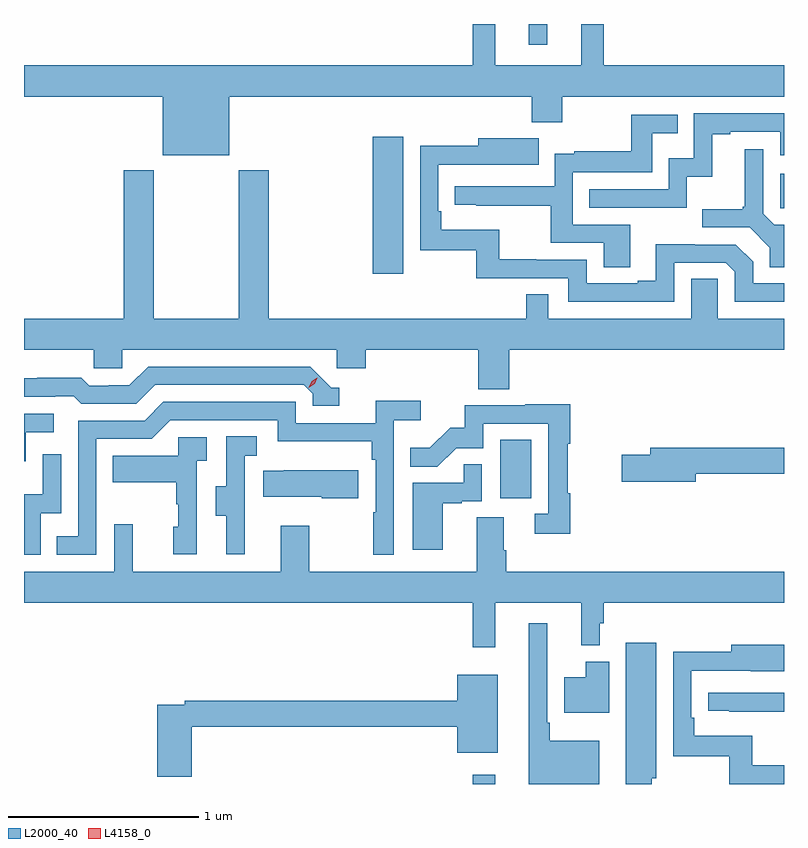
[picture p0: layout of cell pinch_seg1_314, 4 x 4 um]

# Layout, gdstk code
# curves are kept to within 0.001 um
import gdstk
lib = gdstk.Library(unit=1e-6, precision=1e-09)
def R(c, l, rs):  # rectangles x0, y0, x1, y1
    for r in rs: c.add(gdstk.rectangle(r[:2], r[2:], *l))
def P(c, l, *ps):  # polygons
    for p in ps: c.add(gdstk.Polygon(p, *l))
L2000_40 = (2000, 40)
L4158_0 = (4158, 0)

pinch_seg1_314 = lib.new_cell('pinch_seg1_314')
R(pinch_seg1_314, L2000_40, [(1013.923,541.454,1014.04,541.504), (1014.068,542.958,1014.232,543.265), (1013.396,544.14,1013.557,544.861), (1015.542,544.485,1015.561,544.665), (1014.218,545.346,1014.315,545.454)])
P(pinch_seg1_314, L2000_40, [(1012.642,545.072),(1014.233,545.072),(1014.233,544.937),(1014.393,544.937),(1014.393,545.072),(1015.561,545.072),(1015.561,545.236),(1014.611,545.236),(1014.611,545.454),(1014.494,545.454),(1014.494,545.236),(1014.041,545.236),(1014.041,545.454),(1013.923,545.454),(1013.923,545.236),(1011.561,545.236),(1011.561,545.072),(1012.292,545.072),(1012.292,544.763),(1012.642,544.763)],
  [(1015.05,544.649),(1015.183,544.649),(1015.183,544.875),(1015.279,544.875),(1015.279,544.887),(1015.542,544.887),(1015.542,544.764),(1015.561,544.764),(1015.561,544.983),(1015.086,544.983),(1015.086,544.747),(1014.954,544.747),(1014.954,544.584),(1014.535,544.584),(1014.535,544.488),(1015.05,544.488)],
  [(1014.751,544.398),(1014.45,544.398),(1014.45,544.674),(1014.867,544.674),(1014.867,544.88),(1015.001,544.88),(1015.001,544.977),(1014.756,544.977),(1014.756,544.783),(1014.457,544.783),(1014.457,544.771),(1014.354,544.771),(1014.354,544.599),(1013.829,544.599),(1013.829,544.503),(1013.941,544.503),(1013.941,544.498),(1014.334,544.498),(1014.334,544.302),(1014.611,544.302),(1014.611,544.174),(1014.751,544.174)],
  [(1014.984,544.197),(1015.254,544.197),(1015.302,544.149),(1015.302,543.993),(1015.561,543.993),(1015.561,544.089),(1015.398,544.089),(1015.398,544.203),(1015.308,544.293),(1015.092,544.293),(1015.092,544.295),(1014.887,544.295),(1014.887,544.102),(1014.791,544.102),(1014.791,544.089),(1014.522,544.089),(1014.522,544.212),(1014.257,544.212),(1014.257,544.217),(1014.061,544.217),(1014.061,544.372),(1013.756,544.372),(1013.756,544.468),(1013.742,544.468),(1013.742,544.713),(1014.269,544.712),(1014.269,544.852),(1013.951,544.852),(1013.951,544.814),(1013.646,544.814),(1013.646,544.263),(1013.94,544.263),(1013.94,544.116),(1014.426,544.116),(1014.426,543.993),(1014.984,543.993)],
  [(1015.561,544.398),(1015.509,544.398),(1015.452,544.455),(1015.452,544.795),(1015.355,544.795),(1015.355,544.492),(1015.344,544.492),(1015.344,544.48),(1015.131,544.48),(1015.131,544.383),(1015.38,544.383),(1015.487,544.276),(1015.487,544.174),(1015.561,544.174)],
  [(1014.116,543.74),(1015.561,543.74),(1015.561,543.904),(1015.212,543.904),(1015.212,544.112),(1015.073,544.112),(1015.073,543.904),(1014.321,543.904),(1014.321,544.031),(1014.205,544.031),(1014.205,543.904),(1012.85,543.904),(1012.85,544.684),(1012.69,544.684),(1012.69,543.904),(1012.245,543.904),(1012.245,544.684),(1012.085,544.684),(1012.085,543.904),(1011.561,543.904),(1011.561,543.74),(1011.927,543.74),(1011.927,543.642),(1012.077,543.642),(1012.077,543.74),(1013.208,543.74),(1013.208,543.642),(1013.36,543.642),(1013.36,543.74),(1013.951,543.74),(1013.951,543.532),(1014.116,543.532)],
  [(1013.221,543.54),(1013.178,543.54),(1013.067,543.651),(1012.214,543.651),(1012.115,543.552),(1012.008,543.552),(1012.008,543.549),(1011.905,543.549),(1011.863,543.592),(1011.63,543.592),(1011.63,543.589),(1011.561,543.589),(1011.561,543.492),(1011.725,543.492),(1011.725,543.495),(1011.824,543.495),(1011.863,543.456),(1012.152,543.456),(1012.251,543.555),(1013.034,543.555),(1013.082,543.507),(1013.082,543.444),(1013.221,543.444)],
  [(1011.942,543.27),(1012.233,543.27),(1012.332,543.369),(1012.896,543.369),(1012.896,543.257),(1013.392,543.257),(1013.392,543.161),(1013.412,543.161),(1013.412,542.885),(1013.4,542.885),(1013.4,542.661),(1013.508,542.661),(1013.508,543.368),(1013.65,543.368),(1013.65,543.47),(1013.411,543.47),(1013.411,543.354),(1012.992,543.354),(1012.992,543.465),(1012.295,543.465),(1012.196,543.366),(1011.846,543.366),(1011.846,542.757),(1011.733,542.757),(1011.733,542.661),(1011.942,542.661)],
  [(1014.437,542.984),(1014.422,542.984),(1014.422,543.244),(1014.437,543.244),(1014.437,543.452),(1014.199,543.452),(1014.199,543.447),(1013.881,543.447),(1013.881,543.33),(1013.804,543.33),(1013.697,543.223),(1013.593,543.223),(1013.593,543.124),(1013.737,543.124),(1013.835,543.222),(1013.979,543.222),(1013.979,543.351),(1014.321,543.351),(1014.321,542.877),(1014.249,542.877),(1014.249,542.772),(1014.437,542.772)],
  [(1011.57,543.306),(1011.718,543.306),(1011.718,543.402),(1011.561,543.402),(1011.561,543.153),(1011.57,543.153)],
  [(1012.724,542.877),(1012.722,542.877),(1012.722,543.181),(1012.786,543.181),(1012.786,543.284),(1012.626,543.284),(1012.626,543.021),(1012.571,543.021),(1012.571,542.866),(1012.625,542.866),(1012.625,542.664),(1012.724,542.664)],
  [(1012.47,543.155),(1012.522,543.155),(1012.522,543.279),(1012.374,543.279),(1012.374,543.181),(1012.027,543.181),(1012.027,543.041),(1012.362,543.041),(1012.362,542.927),(1012.372,542.927),(1012.372,542.808),(1012.346,542.808),(1012.346,542.664),(1012.47,542.664)],
  [(1015.096,543.088),(1015.561,543.088),(1015.561,543.224),(1014.857,543.224),(1014.857,543.188),(1014.708,543.188),(1014.708,543.046),(1015.096,543.046)],
  [(1011.648,542.88),(1011.756,542.88),(1011.756,543.19),(1011.66,543.19),(1011.66,542.978),(1011.561,542.978),(1011.561,542.661),(1011.648,542.661)],
  [(1013.764,542.931),(1013.864,542.931),(1013.864,542.943),(1013.97,542.943),(1013.97,543.137),(1013.875,543.137),(1013.875,543.039),(1013.606,543.039),(1013.606,542.688),(1013.764,542.688)],
  [(1013.32,543.106),(1012.927,543.106),(1012.927,543.103),(1012.819,543.103),(1012.819,542.966),(1013.129,542.966),(1013.129,542.959),(1013.32,542.959)],
  [(1014.041,542.408),(1014.494,542.408),(1014.494,542.183),(1014.592,542.183),(1014.592,542.301),(1014.611,542.301),(1014.611,542.408),(1015.561,542.408),(1015.561,542.572),(1014.098,542.572),(1014.098,542.684),(1014.085,542.684),(1014.085,542.858),(1013.945,542.858),(1013.945,542.572),(1013.061,542.572),(1013.061,542.812),(1012.913,542.812),(1012.913,542.572),(1012.133,542.572),(1012.133,542.821),(1012.035,542.821),(1012.035,542.572),(1011.561,542.572),(1011.561,542.408),(1013.923,542.408),(1013.923,542.175),(1014.041,542.175)],
  [(1014.588,541.681),(1014.328,541.681),(1014.328,541.777),(1014.315,541.777),(1014.315,542.299),(1014.218,542.299),(1014.218,541.454),(1014.588,541.454)],
  [(1014.864,541.484),(1014.889,541.484),(1014.889,542.197),(1014.728,542.197),(1014.728,541.454),(1014.864,541.454)],
  [(1015.561,541.553),(1015.393,541.553),(1015.393,541.708),(1015.088,541.708),(1015.088,541.804),(1015.074,541.804),(1015.074,542.049),(1015.387,542.049),(1015.387,542.048),(1015.561,542.048),(1015.561,542.188),(1015.283,542.188),(1015.283,542.15),(1014.978,542.15),(1014.978,541.599),(1015.272,541.599),(1015.272,541.454),(1015.561,541.454)],
  [(1014.64,542.098),(1014.518,542.098),(1014.518,542.017),(1014.404,542.017),(1014.404,541.829),(1014.64,541.829)],
  [(1012.445,541.756),(1013.84,541.756),(1013.84,541.619),(1014.055,541.619),(1014.055,542.029),(1013.84,542.029),(1013.84,541.892),(1012.408,541.892),(1012.408,541.872),(1012.262,541.872),(1012.262,541.491),(1012.445,541.491)],
  [(1015.561,541.935),(1015.161,541.935),(1015.161,541.839),(1015.273,541.839),(1015.273,541.834),(1015.561,541.834)])
P(pinch_seg1_314, L4158_0, [(1013.059,543.539),(1013.059,543.54),(1013.075,543.573),(1013.105,543.593),(1013.105,543.593),(1013.105,543.593),(1013.09,543.56),(1013.059,543.539)])

lib.write_gds('pinch_seg1_314.gds')
